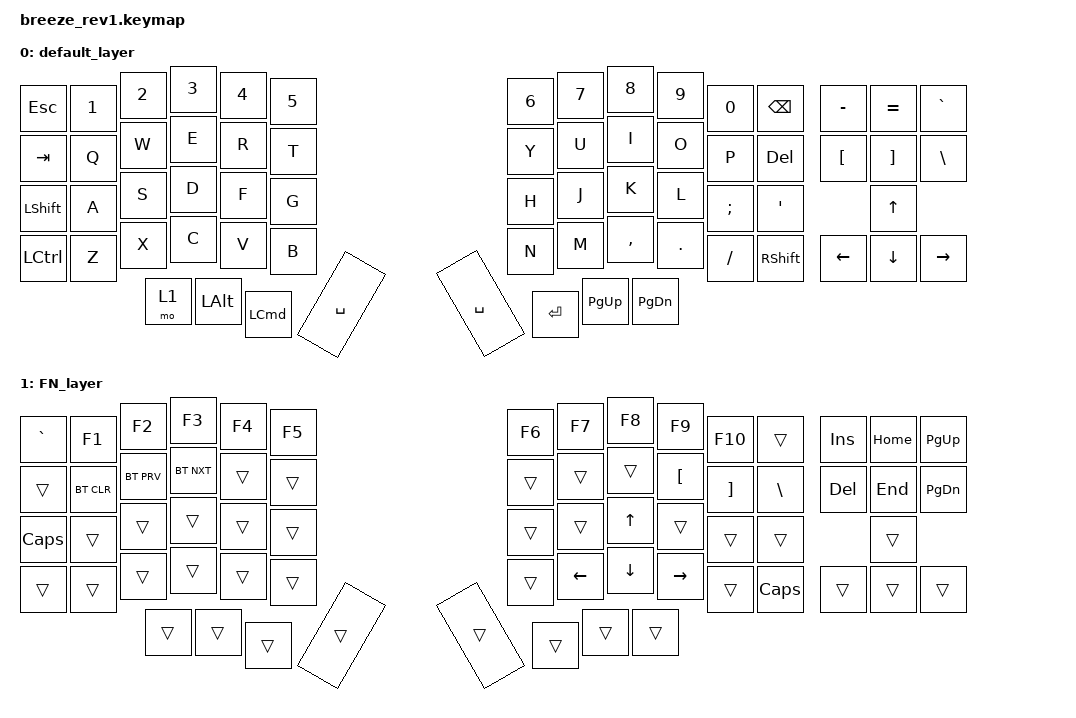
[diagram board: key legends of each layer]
/*
 * Copyright (c) 2022 The ZMK Contributors
 *
 * SPDX-License-Identifier: MIT
 */

#include <behaviors.dtsi>
#include <dt-bindings/zmk/bt.h>
#include <dt-bindings/zmk/keys.h>

/ {
    keymap {
        compatible = "zmk,keymap";

       default_layer {
            // Ref: https://zmkfirmware.dev/docs/codes/
            // ---  MAIN  -----------------------------------------------------------------------------------------------------------------------
            // |    ESC    |     1     |     2     |     3      |      4      |      5     |                           |      6      |      7     |      8      |      9     |     0    |    BSPC    | |    -/_    |     =/+     |    GRAVE    |
            // |    TAB    |     Q     |     W     |     E      |      R      |      T     |                           |      Y      |      U     |      I      |      O     |     P    |    DEL     | |     \     |      [      |      ]      |
            // |   LCTRL   |     A     |     S     |     D      |      F      |      G     |                           |      H      |      J     |      K      |      L     |     ;    |     '      | |           |      UP     |             |
            // |   SHIFT   |     Z     |     X     |     C      |      V      |      B     |                           |      N      |      M     |      ,      |      .     |     /    |   RSHIFT   | |     L     |      DN     |      R      |
            //                                     |   NUMPAD   |     LALT    |    LCMD    |   SPACE    |  |   ENTER   |   FUNCTION  |  MACOS APP |  MACOS LANG |

            bindings = <
&kp ESC         &kp N1  &kp N2  &kp N3  &kp N4    &kp N5                          &kp N6   &kp N7       &kp N8         &kp N9   &kp N0    &kp BSPC    &kp MINUS         &kp EQUAL          &kp GRAVE
&kp TAB         &kp Q   &kp W   &kp E   &kp R     &kp T                           &kp Y    &kp U        &kp I          &kp O    &kp P     &kp DEL     &kp LEFT_BRACKET  &kp RIGHT_BRACKET  &kp BACKSLASH
&kp LEFT_SHIFT  &kp A   &kp S   &kp D   &kp F     &kp G                           &kp H    &kp J        &kp K          &kp L    &kp SEMI  &kp APOS                      &kp UP
&kp LCTRL       &kp Z   &kp X   &kp C   &kp V     &kp B                           &kp N    &kp M        &kp COMMA      &kp DOT  &kp FSLH  &kp RSHIFT  &kp LEFT          &kp DOWN           &kp RIGHT
                                &mo 1   &kp LALT  &kp LCMD  &kp SPACE  &kp SPACE  &kp RET  &kp PAGE_UP  &kp PAGE_DOWN
            >;
        };

        FN_layer {
            bindings = <
&kp GRAVE     &kp F1      &kp F2      &kp F3      &kp F4  &kp F5                  &kp F6  &kp F7    &kp F8          &kp F9     &kp F10   &trans         &kp INS     &kp HOME  &kp PAGE_UP
&trans        &bt BT_CLR  &bt BT_PRV  &bt BT_NXT  &trans  &trans                  &trans  &trans    &trans          &kp LBKT   &kp RBKT  &kp BACKSLASH  &kp DELETE  &kp END   &kp PAGE_DOWN
&kp CAPSLOCK  &trans      &trans      &trans      &trans  &trans                  &trans  &trans    &kp UP_ARROW    &trans     &trans    &trans                     &trans
&trans        &trans      &trans      &trans      &trans  &trans                  &trans  &kp LEFT  &kp DOWN_ARROW  &kp RIGHT  &trans    &kp CAPS       &trans      &trans    &trans
                                      &trans      &trans  &trans  &trans  &trans  &trans  &trans    &trans
            >;
        };
    };
};
